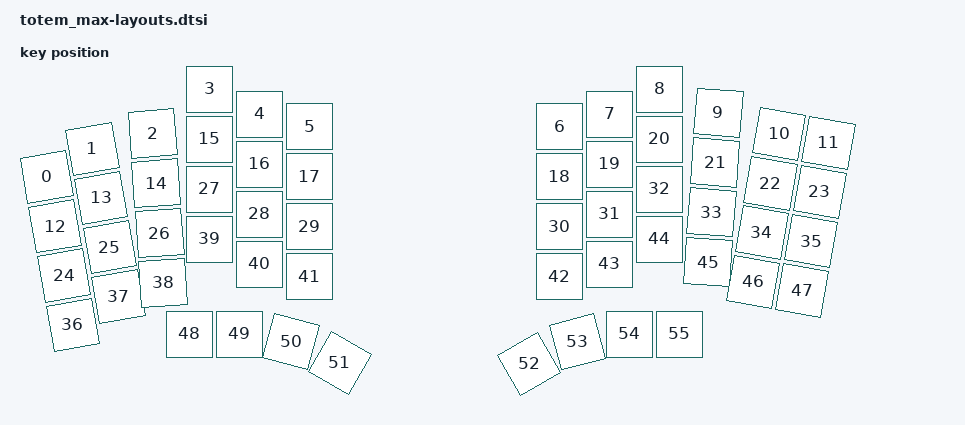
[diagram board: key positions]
#include <physical_layouts.dtsi>

/ {
    totem_max_layout: totem_max_layout {
        compatible = "zmk,physical-layout";
        display-name = "Totem Max";

         keys  //                     w   h    x    y     rot    rx    ry
            = <&key_physical_attrs 100 100    0  155 (-1000)   166   275>
            , <&key_physical_attrs 100 100  100  115 (-1000)   166   275>
            , <&key_physical_attrs 100 100  211   90  (-400)   241   275>
            , <&key_physical_attrs 100 100  316    0       0     0     0>
            , <&key_physical_attrs 100 100  416   50       0     0     0>
            , <&key_physical_attrs 100 100  516   75       0     0     0>
            , <&key_physical_attrs 100 100 1016   75       0     0     0>
            , <&key_physical_attrs 100 100 1116   50       0     0     0>
            , <&key_physical_attrs 100 100 1216    0       0     0     0>
            , <&key_physical_attrs 100 100 1321   50     400  1416   275>
            , <&key_physical_attrs 100 100 1431   90    1000  1491   275>
            , <&key_physical_attrs 100 100 1531   90    1000  1491   275>
            , <&key_physical_attrs 100 100    0  255 (-1000)   166   275>
            , <&key_physical_attrs 100 100  100  215 (-1000)   166   275>
            , <&key_physical_attrs 100 100  211  190  (-400)   241   275>
            , <&key_physical_attrs 100 100  316  100       0     0     0>
            , <&key_physical_attrs 100 100  416  150       0     0     0>
            , <&key_physical_attrs 100 100  516  175       0     0     0>
            , <&key_physical_attrs 100 100 1016  175       0     0     0>
            , <&key_physical_attrs 100 100 1116  150       0     0     0>
            , <&key_physical_attrs 100 100 1216  100       0     0     0>
            , <&key_physical_attrs 100 100 1321  150     400  1416   275>
            , <&key_physical_attrs 100 100 1431  190    1000  1491   275>
            , <&key_physical_attrs 100 100 1531  190    1000  1491   275>
            , <&key_physical_attrs 100 100    0  355 (-1000)   166   275>
            , <&key_physical_attrs 100 100  100  315 (-1000)   166   275>
            , <&key_physical_attrs 100 100  211  290  (-400)   241   275>
            , <&key_physical_attrs 100 100  316  200       0     0     0>
            , <&key_physical_attrs 100 100  416  250       0     0     0>
            , <&key_physical_attrs 100 100  516  275       0     0     0>
            , <&key_physical_attrs 100 100 1016  275       0     0     0>
            , <&key_physical_attrs 100 100 1116  250       0     0     0>
            , <&key_physical_attrs 100 100 1216  200       0     0     0>
            , <&key_physical_attrs 100 100 1321  250     400  1416   275>
            , <&key_physical_attrs 100 100 1431  290    1000  1491   275>
            , <&key_physical_attrs 100 100 1531  290    1000  1491   275>
            , <&key_physical_attrs 100 100    0  455 (-1000)   166   275>
            , <&key_physical_attrs 100 100  100  415 (-1000)   166   275>
            , <&key_physical_attrs 100 100  211  390  (-400)   241   275>
            , <&key_physical_attrs 100 100  316  300       0     0     0>
            , <&key_physical_attrs 100 100  416  350       0     0     0>
            , <&key_physical_attrs 100 100  516  375       0     0     0>
            , <&key_physical_attrs 100 100 1016  375       0     0     0>
            , <&key_physical_attrs 100 100 1116  350       0     0     0>
            , <&key_physical_attrs 100 100 1216  300       0     0     0>
            , <&key_physical_attrs 100 100 1321  350     400  1416   275>
            , <&key_physical_attrs 100 100 1431  390    1000  1491   275>
            , <&key_physical_attrs 100 100 1531  390    1000  1491   275>
            , <&key_physical_attrs 100 100  276  490       0     0     0>
            , <&key_physical_attrs 100 100  376  490       0     0     0>
            , <&key_physical_attrs 100 100  420  470    1500   366   760>
            , <&key_physical_attrs 100 100  460  440    3000   366   760>
            , <&key_physical_attrs 100 100 1070  440 (-3000)  1266   760>
            , <&key_physical_attrs 100 100 1110  470 (-1500)  1266   760>
            , <&key_physical_attrs 100 100 1156  490       0     0     0>
            , <&key_physical_attrs 100 100 1256  490       0     0     0>
            ;
    };
};
